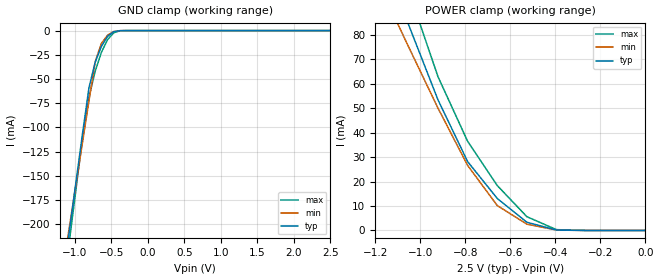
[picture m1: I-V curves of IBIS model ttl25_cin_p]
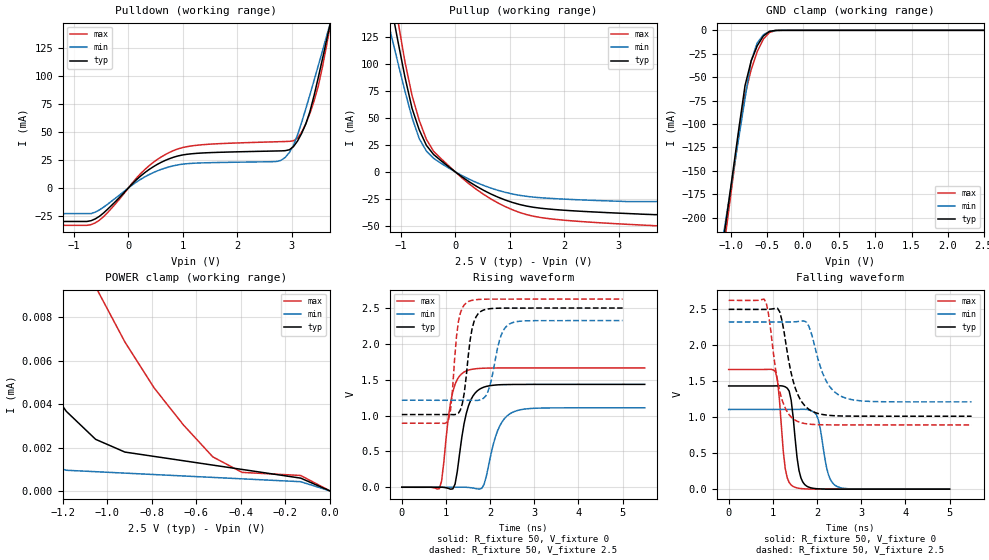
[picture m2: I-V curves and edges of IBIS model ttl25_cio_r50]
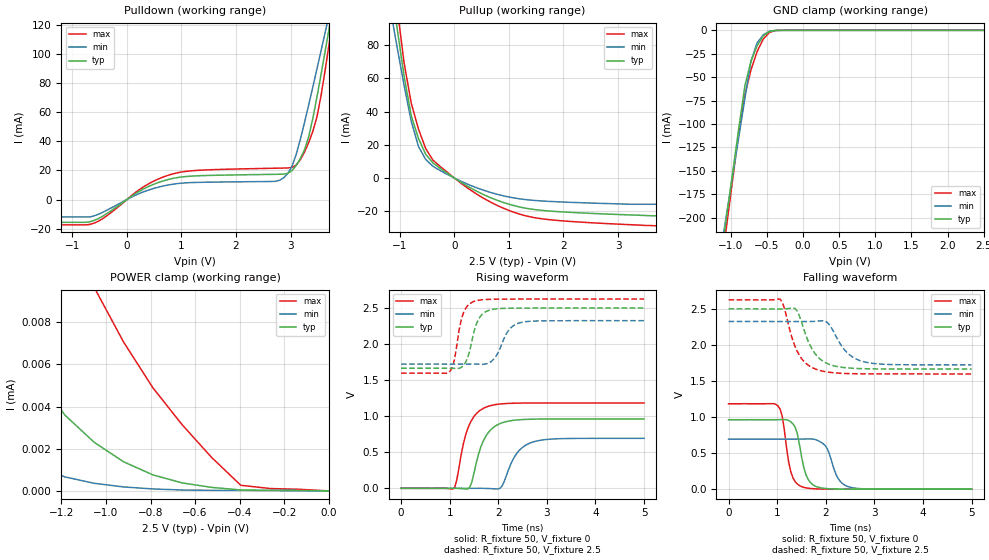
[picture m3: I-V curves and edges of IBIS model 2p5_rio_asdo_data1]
[IBIS Ver] 4.1
[File Name] incremental_encoder_.ibs
[File Rev] 3.2
[Date] March 05, 2017
[Source] Derived from cycloneIII_spice_model,rev 1.0, dated 11/02/07
   using HSPICE Y-2006.03
[Notes]
|   - The models are designated as "Final" and have been
|   correlated against physical device operation. There
|   will not be any planned changes to be made to the models.
|   - This IBIS model is checked using IBISCHK v4.2.2.
|   There are no known errors and warnings reported.
|   - There are no known limitations for this IBIS
|   model release.
|   - Contact point: Altera Corporation,
|   http://www.altera.com/corporate/contact/con-index.html
|   - This file is generated using
|   Quartus II 64-Bit Version 13.1.0 Build 162 10/23/2013 SJ Web Edition
|   Revision History
|   - v3.2
|   - Added 50ohm Series On-Chip Termination with Calibration
|   models with PCI-diode enabled IBIS models
|   - v3.1
|   - Added 50ohm Series On-Chip Termination without Calibration
|   models with PCI-diode enabled IBIS models
|   - Added Cref, Vref and Rref subparameters and removed Test_load
|   keyword for all SSTL & DSSTL IBIS models
|   - Added crc_error and init_done configuration pin IBIS models
|   - v3.0
|   - Updated the file revision from version 2.3 to version 3.0
|   to indicate that Cyclone III devices are mature products
|   - v2.3
|   - Added 18 2.5V BLVDS IBIS models for CIO & RDIO across
|   different drive strength and slew rate options
|   - blvds25_cio_d8s   - blvds25_cio_d12s   - blvds25_cio_d16s
|   - blvds25_cio_d8m   - blvds25_cio_d12m   - blvds25_cio_d16m
|   - blvds25_cio_d8f   - blvds25_cio_d12f   - blvds25_cio_d16f
|   - blvds25_rdio_d8s   - blvds25_rdio_d12s   - blvds25_rdio_d16s
|   - blvds25_rdio_d8m   - blvds25_rdio_d12m   - blvds25_rdio_d16m
|   - blvds25_rdio_d8f   - blvds25_rdio_d12f   - blvds25_rdio_d16f
|   - v2.2
|   - Updated Vref and V_term1 value for the following I/O standard:
|   - 1.8V HSTL CI&CII - Vref = 0.83V to Vref = 0.90V
|   - 1.8V DHSTL CI&CII - Vref = 0.83V to Vref = 0.90V
|   - 1.5V HSTL CI&CII - Vref = 0.6875V to Vref = 0.75V
|   - 1.5V DHSTL CI&CII - Vref = 0.6875V to Vref = 0.75V
|   - 1.2V HSTL CI&CII - Vref = 0.55V to Vref = 0.60V
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Unused IOs which have been assigned as tri-stated inputs or
as outputs driving any signal in Quartus II are represented by the NC.
[Disclaimer] Data is for modeling purposes only and is not guaranteed.
[Copyright]
Copyright (C) 1991-2013 Altera Corporation
Your use of Altera Corporation's design tools, logic functions
and other software and tools, and its AMPP partner logic
functions, and any output files from any of the foregoing
(including device programming or simulation files), and any
associated documentation or information are expressly subject
to the terms and conditions of the Altera Program License
Subscription Agreement, Altera MegaCore Function License
Agreement, or other applicable license agreement, including,
without limitation, that your use is for the sole purpose of
programming logic devices manufactured by Altera and sold by
Altera or its authorized distributors.  Please refer to the
applicable agreement for further details.
[Component] EP3C16F484C8_incremental_encoder_reader
[Manufacturer]  Altera Corporation
[Package]
| RLC values are for 484 FBGA package
|variable  typ  min  max
R_pkg  561.00m   255.00m   819.00m
L_pkg  3.97nH   1.90nH   5.87nH
C_pkg  0.83pF   0.61pF   1.45pF
[Pin]  signal_name   model_name   R_pin   L_pin   C_pin
A1   GND   GND
A2   VCCIO8   POWER
A4   coef[4]   ttl25_cin_p
A6   coef[7]   ttl25_cin_p
A7   coef[2]   ttl25_cin_p
A8   coef[12]   ttl25_cin_p
A9   position[10]   ttl25_cio_r50
A10   coef[3]   ttl25_cin_p
A13   position[16]   ttl25_cio_r50
A14   position[13]   ttl25_cio_r50
A21   VCCIO7   POWER
A22   GND   GND
AA6   VCCIO3   POWER
AA12   Z   ttl25_cin_p
AB1   GND   GND
AB2   VCCIO3   POWER
AB6   GND   GND
AB12   enable   ttl25_cin_p
AB21   VCCIO4   POWER
AB22   GND   GND
B7   coef[6]   ttl25_cin_p
B8   coef[9]   ttl25_cin_p
B9   coef[1]   ttl25_cin_p
B10   coef[13]   ttl25_cin_p
B13   position[1]   ttl25_cio_r50
B14   position[9]   ttl25_cio_r50
C5   GND   GND
C9   GND   GND
C10   position[3]   ttl25_cio_r50
C11   GND   GND
C12   GND   GND
C13   position[0]   ttl25_cio_r50
C14   GND   GND
C16   GND   GND
C18   GND   GND
D1   ~ALTERA_ASDO_DATA1~   2p5_rio_asdo_data1
D3   GND   GND
D4   VCCIO1   POWER
D5   VCCIO8   POWER
D7   GND   GND
D8   GND   GND
D9   VCCIO8   POWER
D10   position[2]   ttl25_cio_r50
D11   VCCIO8   POWER
D12   VCCIO7   POWER
D13   position[12]   ttl25_cio_r50
D14   VCCIO7   POWER
D16   VCCIO7   POWER
D18   VCCIO7   POWER
E2   ~ALTERA_FLASH_nCE_nC  2p5_ro_flsh_nce_ncso
E8   VCCIO8   POWER
E9   coef[10]   ttl25_cin_p
E10   position[14]   ttl25_cio_r50
E11   position[6]   ttl25_cio_r50
E12   position[7]   ttl25_cio_r50
E13   position[11]   ttl25_cio_r50
E17   VCCD_PLL2   POWER
E18   NC   NC
E19   VCCIO6   POWER
E20   GND   GND
F3   GND   GND
F4   VCCIO1   POWER
F5   NC   NC
F6   VCCD_PLL3   POWER
F11   position[8]   ttl25_cio_r50
F13   position[4]   ttl25_cio_r50
F18   VCCA2   POWER
G1   reset   ttl25_rdin_p
G2   B   ttl25_rdin_p
G6   VCCA3   POWER
G10   position[5]   ttl25_cio_r50
G11   coef[0]   ttl25_cin_p
G19   VCCIO6   POWER
G20   GND   GND
H1   overflow   ttl25_rdio_r50
H3   GND   GND
H4   VCCIO1   POWER
H8   GND   GND
H11   position[15]   ttl25_cio_r50
H12   coef[8]   ttl25_cin_p
J3   dir_sel   ttl25_rin_p
J4   A   ttl25_rin_p
J5   GND   GND
J8   VCCINT   POWER
J9   GND   GND
J10   VCCINT   POWER
J11   VCCINT   POWER
J12   VCCINT   POWER
J13   VCCINT   POWER
J14   VCCINT   POWER
J19   GND   GND
J20   VCCIO6   POWER
K1   ~ALTERA_DATA0~   2p5_rio_data0
K2   ~ALTERA_DCLK~   2p5_rio_dclk
K3   GND   GND
K4   VCCIO1   POWER
K5   nCONFIG   ttl25_rin
K6   nSTATUS   2p5_rio_nstatus
K9   VCCINT   POWER
K10   GND   GND
K11   GND   GND
K12   GND   GND
K13   GND   GND
K14   VCCINT   POWER
K20   MSEL3   ttl33_rin
K22   ~ALTERA_nCEO~   2p5_ro_nceo
L1   TMS   ttl33_rin
L2   TCK   ttl33_rin
L3   nCE   ttl25_rin
L4   TDO   2p5_ro_tdo
L5   TDI   ttl33_rin
L9   VCCINT   POWER
L10   GND   GND
L11   GND   GND
L12   GND   GND
L13   GND   GND
L14   VCCINT   POWER
L17   MSEL2   ttl33_rin
L18   MSEL1   ttl33_rin
L19   VCCIO6   POWER
L20   GND   GND
M9   VCCINT   POWER
M10   GND   GND
M11   GND   GND
M12   GND   GND
M13   GND   GND
M14   VCCINT   POWER
M17   MSEL0   ttl33_rin
M18   CONF_DONE   2p5_rio_condone
N3   GND   GND
N4   VCCIO2   POWER
N9   VCCINT   POWER
N10   GND   GND
N11   GND   GND
N12   GND   GND
N13   GND   GND
P9   VCCINT   POWER
P10   VCCINT   POWER
P11   VCCINT   POWER
P12   VCCINT   POWER
P13   VCCINT   POWER
P18   VCCIO5   POWER
P19   GND   GND
R3   GND   GND
R4   VCCIO2   POWER
T6   VCCA1   POWER
T13   VCCINT   POWER
T19   VCCIO5   POWER
T20   GND   GND
U3   GND   GND
U4   VCCIO2   POWER
U5   NC   NC
U6   VCCD_PLL1   POWER
U16   VCCINT   POWER
U17   VCCINT   POWER
U18   VCCA4   POWER
V11   coef[11]   ttl25_cin_p
V17   VCCD_PLL4   POWER
V18   NC   NC
V19   VCCIO5   POWER
V20   GND   GND
W3   GND   GND
W4   VCCIO2   POWER
W5   VCCIO3   POWER
W9   VCCIO3   POWER
W10   coef[5]   ttl25_cin_p
W11   VCCIO3   POWER
W12   VCCIO4   POWER
W16   VCCIO4   POWER
W18   VCCIO4   POWER
Y5   GND   GND
Y9   GND   GND
Y11   GND   GND
Y12   GND   GND
Y14   VCCIO4   POWER
Y15   GND   GND
Y16   GND   GND
Y18   GND   GND
Y19   VCCIO5   POWER
Y20   GND   GND
| Models and submodels in the file (15): ttl25_cin_p (Input), ttl25_cio_r50 (I/O), 2p5_rio_asdo_data1 (I/O), 2p5_ro_flsh_nce_ncso (Output), ttl25_rdin_p (Input), ttl25_rdio_r50 (I/O), ttl25_rin_p (Input), 2p5_rio_data0 (I/O), 2p5_rio_dclk (I/O), ttl25_rin (Input), 2p5_rio_nstatus (I/O_open_drain), ttl33_rin (Input), 2p5_ro_nceo (Output), 2p5_ro_tdo (Output), 2p5_rio_condone (I/O_open_drain)
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[Model] ttl25_cin_p
Model_type Input
Polarity Non-Inverting
Vinl  = 0.7V
Vinh  = 1.7V
C_comp  4.7pF   4.7pF   4.7pF
[Temperature Range] 25   85   0
[Voltage Range]   2.5   2.325   2.625
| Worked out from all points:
|   GND clamp passes 1 mA (typ) near -0.45 V on its own axis
|   POWER clamp passes 1 mA (typ) near -0.43 V on its own axis
[GND Clamp]
| voltage   I (typ)   I (min)   I (max)
-2.5V     -1.003A    -896.6mA   -1.06A
-1.144V   -246.2mA   -237.2mA   -259.1mA
-1.059V   -198.8mA   -196mA     -209mA
-974.6mV  -151.6mA   -154.8mA   -158.9mA
-889.8mV  -104.3mA   -113.6mA   -108.8mA
-805.1mV  -58.87mA   -72.41mA   -68.82mA
-720.3mV  -32.71mA   -32.28mA   -41.9mA
-635.6mV  -16.39mA   -13.32mA   -22.54mA
-550.8mV  -6.002mA   -4.742mA   -9.332mA
-466.1mV  -1.154mA   -978.7uA   -2.246mA
-296.6mV  -4.684uA   -8.884uA   -9.494uA
2.5V      0A         0A         0A
[POWER Clamp]
| voltage   I (typ)   I (min)   I (max)
-2.5V     409.7mA    349.7mA    464.7mA
-1.184V   116.2mA    100.9mA    135.4mA
-1.053V   84.24mA    75.18mA    98.26mA
-921.1mV  53.34mA    49.95mA    62.8mA
-789.5mV  28.12mA    26.56mA    36.41mA
-657.9mV  13.06mA    10.18mA    18.35mA
-526.3mV  3.351mA    2.57mA     5.618mA
-394.7mV  159.8uA    183.4uA    336.4uA
0V        0A         0A         0A
[Model] ttl25_cio_r50
Model_type I/O
Polarity Non-Inverting
Enable Active-Low
Vinl  = 0.7V
Vinh  = 1.7V
Vmeas = 1.1625V
Rref  = 10M
Cref  = 0pF
Vref  = 0V
C_comp  4.7pF   4.7pF   4.7pF
[Temperature Range] 25   85   0
[Voltage Range]   2.5   2.325   2.625
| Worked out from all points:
|   slope of the pulldown table from 0 to 0.375 V, typ, clamps not added: 23 ohm
|   slope of the pullup table from 0 to 0.375 V, typ, clamps not added: 28.9 ohm
|   GND clamp passes 1 mA (typ) near -0.45 V on its own axis
|   rising waveform, R_fixture 50, V_fixture 0: 20-80 % time 247ps typ, 309ps min, 207ps max; typ from 0 V to 1.44 V
|   falling waveform, R_fixture 50, V_fixture 0: 20-80 % time 154ps typ, 191ps min, 137ps max; typ from 1.44 V to 0 V
|   rising waveform, R_fixture 50, V_fixture 2.5: 20-80 % time 176ps typ, 239ps min, 146ps max; typ from 1.01 V to 2.5 V
|   falling waveform, R_fixture 50, V_fixture 2.5: 20-80 % time 319ps typ, 376ps min, 274ps max; typ from 2.5 V to 1.01 V
[GND Clamp]
| voltage   I (typ)   I (min)   I (max)
-2.5V     -1.003A    -896.6mA   -1.061A
-1.144V   -246.2mA   -237.3mA   -259.1mA
-1.059V   -198.9mA   -196.1mA   -209mA
-974.6mV  -151.6mA   -154.9mA   -158.9mA
-889.8mV  -104.3mA   -113.6mA   -108.8mA
-805.1mV  -58.87mA   -72.41mA   -68.82mA
-720.3mV  -32.71mA   -32.28mA   -41.9mA
-635.6mV  -16.39mA   -13.32mA   -22.54mA
-550.8mV  -6.002mA   -4.742mA   -9.332mA
-466.1mV  -1.154mA   -978.7uA   -2.246mA
-296.6mV  -4.684uA   -8.884uA   -9.494uA
2.5V      0A         0A         0A
[Pulldown]
| voltage   I (typ)   I (min)   I (max)
-2.5V     -29.71mA   -22.7mA    -33.15mA
-681.8mV  -29.03mA   -22.7mA    -32.55mA
-378.8mV  -18.84mA   -14.37mA   -21.84mA
303mV     13.76mA    10mA       16.49mA
833.3mV   27.57mA    19.96mA    33.53mA
2.803V    33.2mA     24.8mA     41.43mA
3.03V     36.99mA    38.24mA    42.21mA
3.258V    57.38mA    71mA       57.54mA
3.485V    98.5mA     109.1mA    90.94mA
3.636V    131.6mA    135.2mA    126.9mA
3.712V    148.4mA    148.4mA    146.7mA
5V        421.5mA    373.8mA    464.2mA
[POWER Clamp]
| voltage   I (typ)   I (min)   I (max)
-2.5V     124.1uA    71.36uA    181.7uA
-1.842V   22.85uA    9.498uA    53.98uA
-1.579V   12.21uA    4.121uA    28.45uA
-1.447V   8.385uA    2.418uA    21.97uA
-1.316V   5.568uA    1.354uA    16.64uA
-1.184V   3.666uA    951.8nA    12.52uA
-1.053V   2.377uA    886nA      9.404uA
-789.5mV  1.589uA    754.4nA    4.74uA
-526.3mV  1.189uA    622.9nA    1.568uA
-394.7mV  989.5nA    557.1nA    853.5nA
-131.6mV  589.5nA    425.3nA    711.3nA
0V        0A         0A         0A
[Pullup]
| voltage   I (typ)   I (min)   I (max)
-2.5V     508.6mA    411.8mA    590.4mA
-1.316V   192.5mA    157.6mA    223.2mA
-1.184V   157.4mA    129.6mA    182.4mA
-1.053V   122.3mA    102mA      141.6mA
-789.5mV  58.86mA    50.17mA    70.78mA
-657.9mV  38.91mA    30.79mA    47.7mA
-526.3mV  24.48mA    19.17mA    30.01mA
-394.7mV  16.05mA    12.5mA     19.01mA
131.6mV   -4.932mA   -3.678mA   -5.961mA
921.1mV   -26.26mA   -19.12mA   -32.38mA
1.974V    -35.63mA   -25.35mA   -44.85mA
5V        -39.81mA   -27.66mA   -50.31mA
[Ramp]
dV/dt_r   8.610e-001/2.472e-010  6.648e-001/3.088e-010  9.984e-001/2.068e-010
dV/dt_f   8.916e-001/3.193e-010  6.666e-001/3.756e-010  1.039e+000/2.735e-010
R_load = 50ohms
[Rising Waveform]
R_fixture   = 50
V_fixture   = 0
V_fixture_min = 0
V_fixture_max = 0
| time   V (typ)   V (min)   V (max)
0s        2.639uV    2.315uV    1.245uV
851.3ps   1.084mV    -151.7uV   -19.47mV
901.9ps   669.2uV    -122.8uV   89.86mV
1.104ns   -26.77mV   -160.7uV   1.182V
1.206ns   43.29mV    -182.3uV   1.436V
1.459ns   1.026V     -321.9uV   1.623V
1.813ns   1.385V     -13.31mV   1.659V
2.168ns   1.428V     786.5mV    1.664V
2.522ns   1.434V     1.05V      1.664V
5.5ns     1.435V     1.108V     1.664V
[Falling Waveform]
R_fixture   = 50
V_fixture   = 0
V_fixture_min = 0
V_fixture_max = 0
| time   V (typ)   V (min)   V (max)
0s        1.435V     1.108V     1.664V
1.06ns    1.436V     1.108V     1.631V
1.282ns   1.423V     1.108V     282.9mV
1.459ns   1.007V     1.108V     37.87mV
1.592ns   260.9mV    1.109V     12.18mV
1.813ns   27.89mV    1.102V     2.163mV
2.035ns   4.768mV    956mV      400.4uV
2.256ns   882.8uV    205.6mV    73.55uV
2.433ns   227.2uV    44mV       19.38uV
5ns       1.105uV    0V         889.9nV
[Rising Waveform]
R_fixture   = 50
V_fixture   = 2.5
V_fixture_min = 2.325
V_fixture_max = 2.625
| time   V (typ)   V (min)   V (max)
0s        1.014V     1.214V     893.2mV
1.06ns    1.015V     1.213V     948.2mV
1.282ns   1.034V     1.213V     2.31V
1.415ns   1.316V     1.213V     2.545V
1.503ns   1.825V     1.213V     2.589V
1.725ns   2.418V     1.212V     2.619V
1.946ns   2.487V     1.329V     2.624V
2.212ns   2.498V     2.051V     2.624V
2.433ns   2.499V     2.276V     2.624V
5ns       2.5V       2.325V     2.625V
[Falling Waveform]
R_fixture   = 50
V_fixture   = 2.5
V_fixture_min = 2.325
V_fixture_max = 2.625
| time   V (typ)   V (min)   V (max)
0s        2.5V       2.325V     2.625V
851.3ps   2.499V     2.324V     2.59V
1.054ns   2.513V     2.324V     1.7V
1.155ns   2.466V     2.324V     1.36V
1.408ns   1.632V     2.324V     1.007V
1.56ns    1.322V     2.33V      941.6mV
1.763ns   1.137V     2.321V     908.6mV
2.168ns   1.034V     1.554V     894.8mV
2.573ns   1.017V     1.284V     893.4mV
5.5ns     1.014V     1.214V     893.3mV
[Model] 2p5_rio_asdo_data1
Model_type I/O
Polarity Non-Inverting
Enable Active-Low
Vinl  = 0.7V
Vinh  = 1.7V
Vmeas = 1.1625V
Rref  = 10M
Cref  = 0pF
Vref  = 0V
C_comp  4.4pF   4.4pF   4.4pF
[Temperature Range] 25   85   0
[Voltage Range]   2.5   2.325   2.625
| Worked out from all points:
|   slope of the pulldown table from 0 to 0.375 V, typ, clamps not added: 43.8 ohm
|   slope of the pullup table from 0 to 0.375 V, typ, clamps not added: 50.9 ohm
|   GND clamp passes 1 mA (typ) near -0.45 V on its own axis
|   rising waveform, R_fixture 50, V_fixture 0: 20-80 % time 300ps typ, 330ps min, 276ps max; typ from 0 V to 0.962 V
|   falling waveform, R_fixture 50, V_fixture 0: 20-80 % time 184ps typ, 229ps min, 164ps max; typ from 0.962 V to 0 V
|   rising waveform, R_fixture 50, V_fixture 2.5: 20-80 % time 206ps typ, 268ps min, 172ps max; typ from 1.67 V to 2.5 V
|   falling waveform, R_fixture 50, V_fixture 2.5: 20-80 % time 347ps typ, 383ps min, 328ps max; typ from 2.5 V to 1.67 V
[GND Clamp]
| voltage   I (typ)   I (min)   I (max)
-2.5V     -1.003A    -896.6mA   -1.061A
-1.144V   -246.2mA   -237.3mA   -259.1mA
-1.059V   -198.9mA   -196.1mA   -209mA
-974.6mV  -151.6mA   -154.9mA   -158.9mA
-889.8mV  -104.3mA   -113.6mA   -108.8mA
-805.1mV  -58.87mA   -72.41mA   -68.82mA
-720.3mV  -32.71mA   -32.28mA   -41.9mA
-635.6mV  -16.39mA   -13.32mA   -22.54mA
-550.8mV  -6.002mA   -4.742mA   -9.332mA
-466.1mV  -1.153mA   -978.7uA   -2.246mA
-296.6mV  -4.671uA   -8.865uA   -9.476uA
2.5V      0A         0A         0A
[Pulldown]
| voltage   I (typ)   I (min)   I (max)
-2.5V     -15.66mA   -11.98mA   -17.42mA
-681.8mV  -15.29mA   -11.98mA   -17.1mA
833.3mV   14.44mA    10.47mA    17.52mA
2.803V    17.36mA    13.27mA    21.56mA
3.03V     20mA       23.22mA    22.06mA
3.258V    34.38mA    53.17mA    32.74mA
3.333V    43.21mA    65.14mA    39.22mA
3.485V    70.7mA     89.89mA    56.95mA
3.636V    102.3mA    115.2mA    89.44mA
3.712V    118.6mA    128mA      108.1mA
3.788V    134.8mA    140.8mA    127.3mA
5V        383.3mA    347.7mA    414.6mA
[POWER Clamp]
| voltage   I (typ)   I (min)   I (max)
-2.5V     124.2uA    71.4uA     182.5uA
-1.842V   22.83uA    9.323uA    54.47uA
-1.71V    16.91uA    6.328uA    36.85uA
-1.579V   12.15uA    3.972uA    28.84uA
-1.447V   8.324uA    2.282uA    22.32uA
-1.316V   5.498uA    1.229uA    16.96uA
-1.184V   3.593uA    664.1nA    12.8uA
-1.053V   2.304uA    360.8nA    9.644uA
-789.5mV  760.1nA    93.71nA    4.89uA
-526.3mV  168.2nA    28.96nA    1.594uA
-394.7mV  45.58nA    23.7nA     267.4nA
0V        0A         0A         0A
[Pullup]
| voltage   I (typ)   I (min)   I (max)
-2.5V     434.9mA    354.7mA    506.3mA
-1.184V   122.1mA    103.8mA    139.9mA
-1.053V   90.92mA    79.3mA     103.4mA
-921.1mV  61.14mA    55.63mA    69.21mA
-789.5mV  37.38mA    34.05mA    44.94mA
-657.9mV  23.8mA     18.96mA    29.48mA
-526.3mV  14.34mA    11.23mA    17.79mA
-394.7mV  9.12mA     7.107mA    10.83mA
263.2mV   -5.368mA   -3.989mA   -6.51mA
921.1mV   -14.97mA   -10.89mA   -18.48mA
1.579V    -19.39mA   -13.76mA   -24.42mA
5V        -22.7mA    -15.8mA    -28.71mA
[Ramp]
dV/dt_r   5.774e-001/2.998e-010  4.160e-001/3.296e-010  7.104e-001/2.757e-010
dV/dt_f   5.010e-001/3.466e-010  3.612e-001/3.827e-010  6.168e-001/3.282e-010
R_load = 50ohms
[Rising Waveform]
R_fixture   = 50
V_fixture   = 0
V_fixture_min = 0
V_fixture_max = 0
| time   V (typ)   V (min)   V (max)
0s        0V         0V         0V
1.104ns   637.8uV    -168.6uV   15.32mV
1.37ns    -10.52mV   -163.5uV   824.5mV
1.459ns   94.96mV    -147.8uV   952.9mV
1.548ns   353.3mV    264.8uV    1.034V
1.769ns   748.7mV    -2.215mV   1.132V
2.035ns   897.4mV    -423.7uV   1.17V
2.389ns   948.7mV    492.1mV    1.181V
2.699ns   958.9mV    639.4mV    1.183V
5ns       962.4mV    693.4mV    1.184V
[Falling Waveform]
R_fixture   = 50
V_fixture   = 0
V_fixture_min = 0
V_fixture_max = 0
| time   V (typ)   V (min)   V (max)
0s        962.4mV    693.4mV    1.184V
1.016ns   963.1mV    693.5mV    1.154V
1.104ns   964.8mV    693.4mV    1.01V
1.282ns   932.5mV    693.5mV    239.3mV
1.503ns   444.2mV    694.2mV    35.31mV
1.725ns   66.66mV    695.2mV    7.071mV
1.991ns   9.753mV    603.3mV    1.112mV
2.256ns   1.59mV     146.1mV    176.9uV
2.478ns   345.7uV    31.47mV    38.38uV
5ns       1.024uV    -2.478uV   923.2nV
[Rising Waveform]
R_fixture   = 50
V_fixture   = 2.5
V_fixture_min = 2.325
V_fixture_max = 2.625
| time   V (typ)   V (min)   V (max)
0s        1.665V     1.723V     1.597V
1.016ns   1.665V     1.722V     1.63V
1.104ns   1.664V     1.722V     1.801V
1.282ns   1.7V       1.722V     2.43V
1.503ns   2.179V     1.723V     2.593V
1.769ns   2.459V     1.73V      2.62V
1.946ns   2.487V     1.827V     2.623V
2.212ns   2.498V     2.191V     2.624V
2.478ns   2.499V     2.302V     2.625V
5ns       2.5V       2.325V     2.625V
[Falling Waveform]
R_fixture   = 50
V_fixture   = 2.5
V_fixture_min = 2.325
V_fixture_max = 2.625
| time   V (typ)   V (min)   V (max)
0s        2.5V       2.325V     2.625V
1.06ns    2.499V     2.324V     2.635V
1.149ns   2.5V       2.324V     2.508V
1.415ns   2.466V     2.324V     1.908V
1.68ns    1.99V      2.325V     1.7V
1.858ns   1.819V     2.332V     1.649V
2.035ns   1.741V     2.309V     1.623V
2.389ns   1.685V     1.929V     1.604V
2.744ns   1.671V     1.774V     1.599V
5ns       1.665V     1.723V     1.597V
